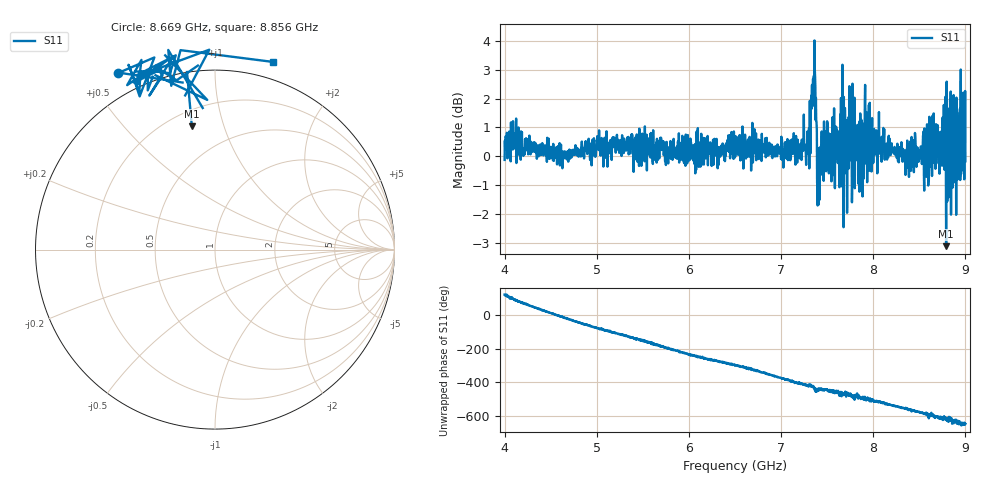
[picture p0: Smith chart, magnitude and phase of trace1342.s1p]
! Created with skrf 1.8.0 (http://scikit-rf.org).
# Hz S RI R 50.0
!freq ReS11 ImS11
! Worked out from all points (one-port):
!   1601 points, 4 GHz to 9 GHz, reference 50 ohm
!   lowest |S11| = -3.1 dB at 8.791 GHz (marker M1), VSWR 5.63, Z = 14.7 + j39.3 ohm
!   |S11| at or under -10 dB: nowhere
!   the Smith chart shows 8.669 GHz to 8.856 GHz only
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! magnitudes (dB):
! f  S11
! 4 GHz  -0.1
! 4.1 GHz  0.3
! 4.625 GHz  -0.4
! 5.25 GHz  0.2
! 5.875 GHz  0.1
! 6.5 GHz  0.3
! 7.125 GHz  0.3
! 7.294 GHz  0.6
! 7.347 GHz  2.7
! 7.362 GHz  4.0
! 7.4 GHz  -0.4
! 7.412 GHz  -0.9
! 7.491 GHz  0.7
! 7.609 GHz  0.7
! 7.669 GHz  0.8
! 7.703 GHz  -0.6
! 7.75 GHz  0.6
! 7.872 GHz  1.3
! 7.928 GHz  0.7
! 7.997 GHz  0.9
! 8.375 GHz  -0.4
! 8.441 GHz  -0.6
! 8.578 GHz  -0.7
! 8.634 GHz  1.1
! 8.791 GHz  -3.1
! 8.906 GHz  1.1
! 8.959 GHz  1.9
! 9 GHz  -0.2
